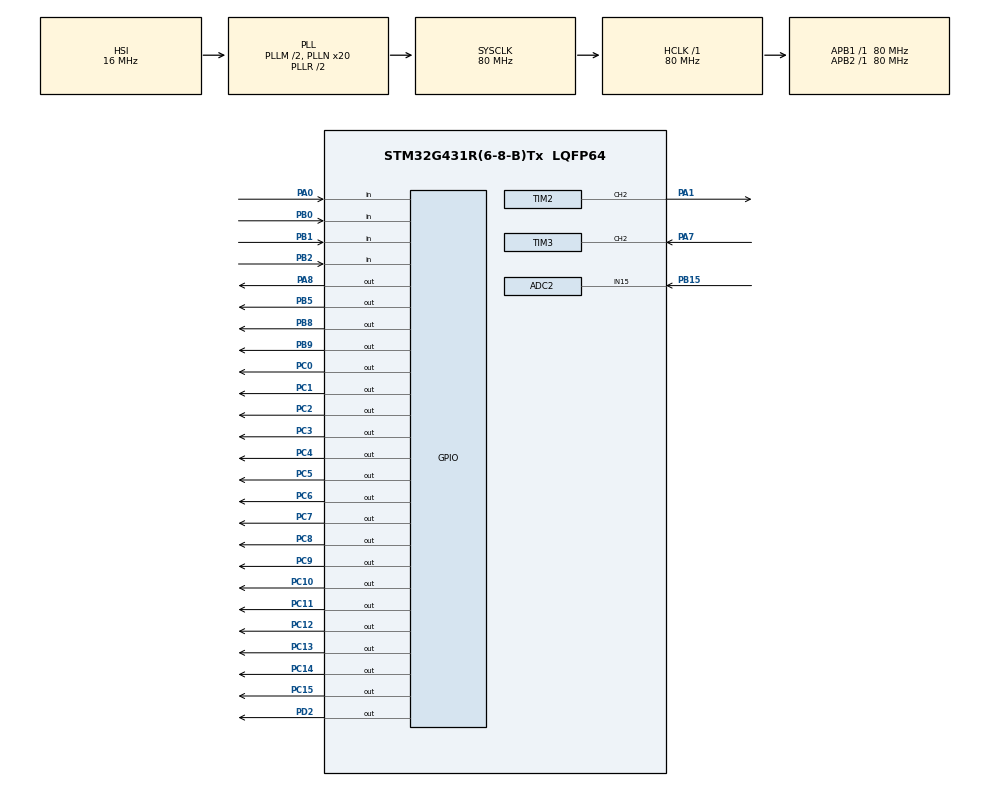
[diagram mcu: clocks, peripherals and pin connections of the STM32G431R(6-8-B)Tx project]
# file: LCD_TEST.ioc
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ADC2.Channel-0\#ChannelRegularConversion=ADC_CHANNEL_15
ADC2.NbrOfConversionFlag=1
ADC2.OffsetNumber-0\#ChannelRegularConversion=ADC_OFFSET_NONE
ADC2.Rank-0\#ChannelRegularConversion=1
ADC2.SamplingTime-0\#ChannelRegularConversion=ADC_SAMPLETIME_2CYCLES_5
Mcu.Family=STM32G4
Mcu.Name=STM32G431R(6-8-B)Tx
Mcu.Package=LQFP64
NVIC.PriorityGroup=NVIC_PRIORITYGROUP_4
NVIC.TIM3_IRQn=true\:2\:0\:true\:false\:true\:true\:true\:true
NVIC.TIM4_IRQn=true\:5\:0\:true\:false\:true\:true\:true\:true
NVIC.TIM8_UP_IRQn=true\:15\:0\:false\:false\:true\:false\:true\:true
NVIC.TimeBase=TIM8_UP_IRQn
NVIC.TimeBaseIP=TIM8
PA0.GPIO_PuPd=GPIO_PULLUP
PA0.Signal=GPIO_Input
PA1.Signal=S_TIM2_CH2
PA13.Mode=Serial_Wire
PA13.Signal=SYS_JTMS-SWDIO
PA14.Mode=Serial_Wire
PA14.Signal=SYS_JTCK-SWCLK
PA7.Signal=S_TIM3_CH2
PA8.Signal=GPIO_Output
PB0.GPIO_PuPd=GPIO_PULLUP
PB0.Signal=GPIO_Input
PB1.GPIO_PuPd=GPIO_PULLUP
PB1.Signal=GPIO_Input
PB15.Mode=IN15-Single-Ended
PB15.Signal=ADC2_IN15
PB2.GPIO_PuPd=GPIO_PULLUP
PB2.Signal=GPIO_Input
PB5.Signal=GPIO_Output
PB8-BOOT0.Signal=GPIO_Output
PB9.Signal=GPIO_Output
PC0.Signal=GPIO_Output
PC1.Signal=GPIO_Output
PC10.Signal=GPIO_Output
PC11.Signal=GPIO_Output
PC12.Signal=GPIO_Output
PC13.Signal=GPIO_Output
PC14-OSC32_IN.Signal=GPIO_Output
PC15-OSC32_OUT.Signal=GPIO_Output
PC2.Signal=GPIO_Output
PC3.Signal=GPIO_Output
PC4.Signal=GPIO_Output
PC5.Signal=GPIO_Output
PC6.Signal=GPIO_Output
PC7.Signal=GPIO_Output
PC8.Signal=GPIO_Output
PC9.Signal=GPIO_Output
PD2.Signal=GPIO_Output
PF0-OSC_IN.Mode=HSE-External-Oscillator
PF0-OSC_IN.Signal=RCC_OSC_IN
PF1-OSC_OUT.Mode=HSE-External-Oscillator
PF1-OSC_OUT.Signal=RCC_OSC_OUT
ProjectManager.HeapSize=0x200
ProjectManager.StackSize=0x400
ProjectManager.TargetToolchain=MDK-ARM V5.27
RCC.ADC12Freq_Value=80000000
RCC.AHBFreq_Value=80000000
RCC.APB1Freq_Value=80000000
RCC.APB1TimFreq_Value=80000000
RCC.APB2Freq_Value=80000000
RCC.APB2TimFreq_Value=80000000
RCC.CortexFreq_Value=80000000
RCC.EXTERNAL_CLOCK_VALUE=12288000
RCC.HCLKFreq_Value=80000000
RCC.HSE_VALUE=24000000
RCC.HSI48_VALUE=48000000
RCC.HSI_VALUE=16000000
RCC.LSE_VALUE=32768
RCC.PLLM=RCC_PLLM_DIV2
RCC.PLLN=20
RCC.SYSCLKFreq_VALUE=80000000
RCC.SYSCLKSource=RCC_SYSCLKSOURCE_PLLCLK
RCC.USBFreq_Value=80000000
RCC.VCOOutputFreq_Value=160000000
SH.S_TIM2_CH2.0=TIM2_CH2,PWM Generation2 CH2
SH.S_TIM3_CH2.0=TIM3_CH2,Input_Capture2_from_TI2
TIM2.Channel-PWM\ Generation2\ CH2=TIM_CHANNEL_2
TIM2.PeriodNoDither=1000-1
TIM2.Prescaler=20-1
TIM3.Channel-Input_Capture2_from_TI2=TIM_CHANNEL_2
TIM3.Prescaler=80-1
TIM4.PeriodNoDither=1000-1
TIM4.Prescaler=80-1
VP_SYS_VS_DBSignals.Mode=DisableDeadBatterySignals
VP_SYS_VS_tim8.Mode=TIM8
VP_TIM4_VS_ClockSourceINT.Mode=Internal
board=custom

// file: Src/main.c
/* USER CODE BEGIN Header */
/**
  ******************************************************************************
  * @file           : main.c
  * @brief          : Main program body
  ******************************************************************************
  * @attention
  *
  * Copyright (c) 2023 STMicroelectronics.
  * All rights reserved.
  *
  * This software is licensed under terms that can be found in the LICENSE file
  * in the root directory of this software component.
  * If no LICENSE file comes with this software, it is provided AS-IS.
  *
  ******************************************************************************
  */
/* USER CODE END Header */
#include "main.h"
#include "adc.h"
#include "tim.h"
#include "gpio.h"

/* USER CODE BEGIN Includes */
#include "lcd.h"
#include "stdio.h"
#include "key.h"
/* USER CODE END Includes */

void SystemClock_Config(void);

/* USER CODE BEGIN 0 */
uint32_t  cc1_value_2 = 0;
uint32_t  f40 = 0;
float speed=0;
extern int R,K;
void HAL_TIM_IC_CaptureCallback(TIM_HandleTypeDef *htim)
{

	cc1_value_2 = HAL_TIM_ReadCapturedValue(&htim3,TIM_CHANNEL_2);
//  cc1_value_2 = __HAL_TIM_GET_COUNTER(&htim3);

	__HAL_TIM_SetCounter(&htim3,0);
	f40 = 1000000/cc1_value_2;
	speed=(f40*2*3.14*R)/100*K;
	HAL_TIM_IC_Start_IT(&htim3, TIM_CHANNEL_2);
}
/* USER CODE END 0 */

int main(void)
{

  /* MCU Configuration--------------------------------------------------------*/

  /* Reset of all peripherals, Initializes the Flash interface and the Systick. */
  HAL_Init();

  /* Configure the system clock */
  SystemClock_Config();

  /* Initialize all configured peripherals */
  MX_GPIO_Init();
  MX_TIM4_Init();
  MX_TIM2_Init();
  MX_TIM3_Init();
  MX_ADC2_Init();
  /* USER CODE BEGIN 2 */
	LCD_Init();
	LCD_Clear(Black);
	LCD_SetBackColor(Black);
	LCD_SetTextColor(White);

	HAL_TIM_PWM_Start(&htim2,TIM_CHANNEL_2);
	__HAL_TIM_SetCompare(&htim2, TIM_CHANNEL_2, 500);
	HAL_TIM_Base_Start_IT(&htim4);
		__HAL_TIM_CLEAR_IT(&htim3,TIM_IT_UPDATE);
	HAL_TIM_IC_Start_IT(&htim3, TIM_CHANNEL_2);
		__HAL_TIM_CLEAR_IT(&htim3,TIM_IT_UPDATE);
  /* USER CODE END 2 */

  /* Infinite loop */
  while (1)
  {

  }
}

void SystemClock_Config(void)
{
  RCC_OscInitTypeDef RCC_OscInitStruct = {0};
  RCC_ClkInitTypeDef RCC_ClkInitStruct = {0};

  /** Configure the main internal regulator output voltage
  */
  HAL_PWREx_ControlVoltageScaling(PWR_REGULATOR_VOLTAGE_SCALE1);

  /** Initializes the RCC Oscillators according to the specified parameters
  * in the RCC_OscInitTypeDef structure.
  */
  RCC_OscInitStruct.OscillatorType = RCC_OSCILLATORTYPE_HSI;
  RCC_OscInitStruct.HSIState = RCC_HSI_ON;
  RCC_OscInitStruct.HSICalibrationValue = RCC_HSICALIBRATION_DEFAULT;
  RCC_OscInitStruct.PLL.PLLState = RCC_PLL_ON;
  RCC_OscInitStruct.PLL.PLLSource = RCC_PLLSOURCE_HSI;
  RCC_OscInitStruct.PLL.PLLM = RCC_PLLM_DIV2;
  RCC_OscInitStruct.PLL.PLLN = 20;
  RCC_OscInitStruct.PLL.PLLP = RCC_PLLP_DIV2;
  RCC_OscInitStruct.PLL.PLLQ = RCC_PLLQ_DIV2;
  RCC_OscInitStruct.PLL.PLLR = RCC_PLLR_DIV2;
  if (HAL_RCC_OscConfig(&RCC_OscInitStruct) != HAL_OK)
  {
    Error_Handler();
  }

  /** Initializes the CPU, AHB and APB buses clocks
  */
  RCC_ClkInitStruct.ClockType = RCC_CLOCKTYPE_HCLK|RCC_CLOCKTYPE_SYSCLK
                              |RCC_CLOCKTYPE_PCLK1|RCC_CLOCKTYPE_PCLK2;
  RCC_ClkInitStruct.SYSCLKSource = RCC_SYSCLKSOURCE_PLLCLK;
  RCC_ClkInitStruct.AHBCLKDivider = RCC_SYSCLK_DIV1;
  RCC_ClkInitStruct.APB1CLKDivider = RCC_HCLK_DIV1;
  RCC_ClkInitStruct.APB2CLKDivider = RCC_HCLK_DIV1;

  if (HAL_RCC_ClockConfig(&RCC_ClkInitStruct, FLASH_LATENCY_2) != HAL_OK)
  {
    Error_Handler();
  }
}

/* USER CODE BEGIN 4 */
int lcd_interface=0;
char text_title[30];
int cnt=20;
float cnt1=20.0;
uint8_t frequency=0;//0 is low
int R=1,K=1;
extern int high_or_low_number;
int dut=0;
extern int high_max_speed,low_max_speed;
int tongji_tim=0;
extern uint8_t Duty_loke;
extern int psc_finish_down_flag,psc_finish_up_flag;
/* USER CODE END 4 */

void HAL_TIM_PeriodElapsedCallback(TIM_HandleTypeDef *htim)
{
  if (htim->Instance == TIM8) {
    HAL_IncTick();
  }
  /* USER CODE BEGIN Callback 1 */
  if (htim->Instance == TIM4) {
		tongji_tim++;
		if(tongji_tim%50==0)
		{
			MAX_speed();
		}

		if(lcd_interface == 0)
		{
			sprintf(text_title,"        DATA          ");
			LCD_DisplayStringLine(Line1, (uint8_t *)text_title);
			if(frequency==0)
			{
				sprintf(text_title,"   M = L              ");
				LCD_DisplayStringLine(Line3, (uint8_t *)text_title);
			}
			else if(frequency==1)
			{
				sprintf(text_title,"   M = H              ");
				LCD_DisplayStringLine(Line3, (uint8_t *)text_title);
			}
			sprintf(text_title,"   P = %d%%          ",dut/10);
			LCD_DisplayStringLine(Line4, (uint8_t *)text_title);
			sprintf(text_title,"   V = %.1f          ",speed);
			LCD_DisplayStringLine(Line5, (uint8_t *)text_title);
						sprintf(text_title,"                       ");
			LCD_DisplayStringLine(Line6, (uint8_t *)text_title);
		}
		else if(lcd_interface == 1)
		{
			sprintf(text_title,"        PARA          ");
			LCD_DisplayStringLine(Line1, (uint8_t *)text_title);
			sprintf(text_title,"                       ");
			LCD_DisplayStringLine(Line3, (uint8_t *)text_title);
			sprintf(text_title,"   R = %d          ",R);
			LCD_DisplayStringLine(Line4, (uint8_t *)text_title);
			sprintf(text_title,"   K = %d          ",K);
			LCD_DisplayStringLine(Line5, (uint8_t *)text_title);
						sprintf(text_title,"                       ");
			LCD_DisplayStringLine(Line6, (uint8_t *)text_title);
		}
		else if(lcd_interface == 2)
		{
			sprintf(text_title,"        RECD          ");
			LCD_DisplayStringLine(Line1, (uint8_t *)text_title);
			sprintf(text_title,"   N = %d          ",high_or_low_number);
			LCD_DisplayStringLine(Line4, (uint8_t *)text_title);
			sprintf(text_title,"   MH = %d          ",high_max_speed);
			LCD_DisplayStringLine(Line5, (uint8_t *)text_title);
			sprintf(text_title,"   ML = %d          ",low_max_speed);
			LCD_DisplayStringLine(Line6, (uint8_t *)text_title);
						sprintf(text_title,"                       ");
			LCD_DisplayStringLine(Line3, (uint8_t *)text_title);
		}

		key_proc();
		key_task();
		adc_task();

		if(lcd_interface == 0)
		{
			HAL_GPIO_WritePin(GPIOC,GPIO_PIN_All,GPIO_PIN_SET);
			HAL_GPIO_WritePin(GPIOC,GPIO_PIN_8,GPIO_PIN_RESET);
		}
		else
		{
			HAL_GPIO_WritePin(GPIOC,GPIO_PIN_All,GPIO_PIN_SET);
			HAL_GPIO_WritePin(GPIOC,GPIO_PIN_8,GPIO_PIN_SET);
		}
		if(Duty_loke==1) HAL_GPIO_WritePin(GPIOC,GPIO_PIN_10,GPIO_PIN_RESET);
		else HAL_GPIO_WritePin(GPIOC,GPIO_PIN_10,GPIO_PIN_SET);

		if(psc_finish_down_flag==0 || psc_finish_up_flag==0)
		{
			if(tongji_tim%10==0)
			{
				HAL_GPIO_TogglePin(GPIOC, GPIO_PIN_9);
			}
		}
		HAL_GPIO_WritePin(GPIOD,GPIO_PIN_2,GPIO_PIN_SET);
		HAL_GPIO_WritePin(GPIOD,GPIO_PIN_2,GPIO_PIN_RESET);

  }
  /* USER CODE END Callback 1 */
}

void Error_Handler(void)
{
  __disable_irq();
  while (1)
  {
  }
}
